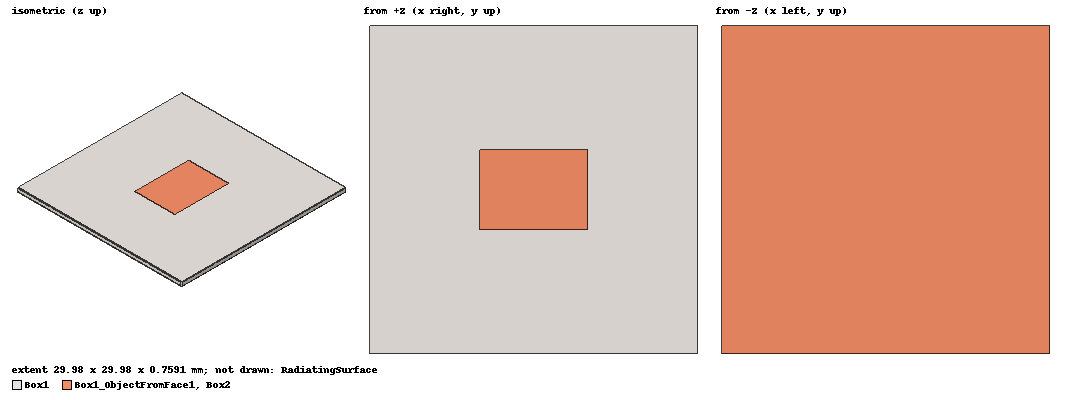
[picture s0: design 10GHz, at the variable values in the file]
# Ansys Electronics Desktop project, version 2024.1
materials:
  vacuum: permittivity=1
  Rogers RT/duroid 5880 (tm): permittivity=2.2 dielectric_loss_tangent=0.0009
  Rogers RO4003 (tm): permittivity=3.55 dielectric_loss_tangent=0.0027
  copper: permeability=0.999991 conductivity=58000000
  pec: conductivity=1e+30
  FR4_epoxy: permittivity=4.4 dielectric_loss_tangent=0.02
  Rogers RO4350 (tm): permittivity=3.66 dielectric_loss_tangent=0.004

design 10GHz (HFSS, HFSS Modal Network, model units mm)
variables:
  c = 299792458
  f0 = 10GHz
  lambda = c/f0
  SubW = lambda
  SubL = lambda
  SubTh = 0.688mm
  CuTh = 0.03556mm
  epsi_r = 3.66
  PatchW = (lambda/2)*sqrt(2/(epsi_r+1))
  PatchL = PatchWMult*lambda/2/sqrt(epsi_r)
  FeedX = 0.1mm
  FeedY = -1.7mm
  PatchWMult = 0.93
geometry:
  Box1 [Rogers RO4350 (tm)] = box(corner=(-SubW/2, -SubL/2, 0mm), size=(SubW, SubL, SubTh))
  Box1_ObjectFromFace1 [copper] = object_from(Box1.face(-z))
  Box1_ObjectFromFace1.thicken(CuTh)
  Box2 [copper] = box(corner=(-PatchW/2, -PatchL/2, SubTh), size=(PatchW, PatchL, CuTh))
  RadiatingSurface [vacuum] = region(absolute_offset=10mm on all sides)
  Rectangle1 = rectangle(corner=(-FeedX/2, FeedY, 0mm), z_size=SubTh, x_size=FeedX)
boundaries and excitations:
  Open1: Radiation Objects=RadiatingSurface
  1: Lumped Port Objects=Rectangle1 LumpedPortType=Modal Modes{Mode1{IntLine{(0, -1.7, 0) -> (0, -1.7, 0.688)} CharImp=Zpi RenormImp=50ohm}} Impedance=50ohm
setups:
  Setup1: HfssDriven Frequency=10GHz MaxDeltaS=0.02 MaximumPasses=20 MinimumPasses=1 MinimumConvergedPasses=2 PercentRefinement=30 BasisOrder=1 PortAccuracy=2 DrivenSolverType="Direct Solver"
    sweep Sweep: 5GHz to 15GHz, 401 points; Type=Interpolating InterpTolerance=0.5 InterpMaxSolns=250 InterpUsePortImped=false PassivityErrorTolerance=0.0001
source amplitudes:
  1:1: 1W 0deg
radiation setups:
  3D: Infinite Sphere Theta=0deg..180deg step 2deg Phi=-180deg..180deg step 2deg
  Elevation: Infinite Sphere Theta=-180deg..180deg step 1deg Phi=0deg..90deg step 90deg
  Azimuth: Infinite Sphere Theta=90deg..90deg step 0deg Phi=-180deg..180deg step 1deg
  Infinite Sphere1: Infinite Sphere Theta=0deg..180deg step 2deg Phi=-180deg..180deg step 2deg
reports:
  S Parameter Plot 1: dB(S(1,1)) vs Freq on Setup1 : Sweep [FeedY=all PatchWMult=all]; markers m1 at 10.025GHz, m2 at 9.9GHz, m3 at 10.175GHz, m4 at 9.925GHz
  S Parameter Plot 2: dB(S(1,1)) vs Freq on Setup1 : Sweep [FeedY=-1.7mm PatchWMult=0.93]
  Gain Plot 1: dB(GainTotal) vs Phi, Theta on Setup1 : LastAdaptive, 3D [Freq=10GHz FeedY=-1.7mm PatchWMult=0.93]

design 10GHz_Via_Fed (HFSS, HFSS Modal Network, model units mm)
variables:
  c = 299792458
  f0 = 10GHz
  lambda = c/f0
  SubW = 2*lambda
  SubL = 2*lambda
  SubTh = 0.508mm
  CuTh = 0.035mm
  epsi_r = 3.55
  PatchW = (lambda/2)*sqrt(2/(epsi_r+1))
  PatchL = 0.94*lambda/2/sqrt(epsi_r)
  FeedX = 0.1mm
  FeedY = -1.2mm
  ViaRad = 0.2mm
  LineL = 1mm
  Sub2Th = 0.3mm
  LineW = 0.68mm
  LineYOffset = 2mm
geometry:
  Box1 [Rogers RO4003 (tm)] = box(corner=(-SubW/2, -SubL/2, 0mm), size=(SubW, SubL, SubTh))
  Box1_ObjectFromFace1 [copper] = object_from(Box1.face(-z))
  Box1_ObjectFromFace1.thicken(CuTh)
  Patch [copper] = box(corner=(-PatchW/2, -PatchL/2, SubTh), size=(PatchW, PatchL, CuTh))
  RadiatingSurface [vacuum] = region(absolute_offset=10mm on all sides)
  Via [copper] = cylinder(axis=Z, base_centre=(0mm, -FeedY, SubTh), radius=ViaRad, height=-SubTh-CuTh-Sub2Th)
  Box1_ObjectFromFace1_ObjectFromFace1 [Rogers RO4003 (tm)] = object_from(Box1_ObjectFromFace1.face(at (0, 0, -0.035)))
  Box1_ObjectFromFace1_ObjectFromFace1.thicken(Sub2Th)
  Microstrip [copper] = box(corner=(-LineW/2, LineYOffset, -CuTh-Sub2Th), size=(LineW, -SubL/2-LineYOffset, -CuTh))
  Box3_ObjectFromFace1 [pec] = object_from(Microstrip.face(-y))
  Box3_ObjectFromFace1.thicken(0.1mm)
  Box3_ObjectFromFace1.move_faces(MoveAlongNormalFlag=true OffsetDistance=Sub2Th FacesToMove=Box3_ObjectFromFace1.face(#291))
  Box3_ObjectFromFace1.move_faces(MoveAlongNormalFlag=true OffsetDistance=3mm FacesToMove=Box3_ObjectFromFace1.face(#292, #293, #290))
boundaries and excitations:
  Open1: Radiation Objects=RadiatingSurface
  1: Wave Port Faces=Box3_ObjectFromFace1.face(at (0, -29.9792, -1.7025)) WavePortType=Modal NumModes=1 Modes{Mode1{CharImp=Zpi}}
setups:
  Setup1: HfssDriven Frequency=10GHz MaxDeltaS=0.02 MaximumPasses=20 MinimumPasses=1 MinimumConvergedPasses=2 PercentRefinement=30 BasisOrder=1 PortAccuracy=2 DrivenSolverType="Direct Solver"
    sweep Sweep: 5GHz to 15GHz, 401 points; Type=Interpolating InterpTolerance=0.5 InterpMaxSolns=250 InterpUsePortImped=false PassivityErrorTolerance=0.0001
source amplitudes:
  1:1: 1W 0deg
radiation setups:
  3D: Infinite Sphere Theta=0deg..180deg step 2deg Phi=-180deg..180deg step 2deg
  Elevation: Infinite Sphere Theta=-180deg..180deg step 1deg Phi=0deg..90deg step 90deg
  Azimuth: Infinite Sphere Theta=90deg..90deg step 0deg Phi=-180deg..180deg step 1deg
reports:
  S Parameter Plot 1: dB(S(1,1)) vs Freq on Setup1 : Sweep [FeedY=all]

design 10GHz_Inset_Fed (HFSS, HFSS Modal Network, model units mm)
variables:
  c = 299792458
  f0 = 10GHz
  lambda = c/f0
  SubW = lambda
  SubL = lambda
  SubTh = 0.688mm
  CuTh = 0.03556mm
  epsi_r = 3.66
  PatchW = (lambda/2)*sqrt(2/(epsi_r+1))
  PatchL = PatchWMult*lambda/2/sqrt(epsi_r)
  FeedX = 0.1mm
  FeedY = 2.3mm
  PatchWMult = 0.97
  LineW = 7.48*SubTh/(exp(50 * (sqrt(epsi_r+1.41)/87))) - 1.25*CuTh
  Inset = FeedY
  Gap = LineW/2
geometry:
  Box1 [Rogers RO4350 (tm)] = box(corner=(-SubW/2, -SubL/2, 0mm), size=(SubW, SubL, SubTh))
  Box1_ObjectFromFace1 [copper] = object_from(Box1.face(-z))
  Box1_ObjectFromFace1.thicken(CuTh)
  Box2 [copper] = box(corner=(-PatchW/2, -PatchL/2, SubTh), size=(PatchW, PatchL, CuTh))
  RadiatingSurface [vacuum] = region(absolute_offset=10mm on all sides)
  Box3 = box(corner=(-LineW/2, -PatchL/2, SubTh), size=(LineW, -SubL/2+PatchL/2, CuTh))
  Box3_ObjectFromFace1 = object_from(Box2.face(5 of 6))
  Box3_ObjectFromFace1.thicken(Inset)
  Box3_ObjectFromFace1.move_faces(MoveAlongNormalFlag=true OffsetDistance=Gap FacesToMove=Box3_ObjectFromFace1.face(#242, #244))
  Box3.move_faces(MoveAlongNormalFlag=true OffsetDistance=Inset FacesToMove=Box2.face(5 of 6))
  Box2.subtract(Box3_ObjectFromFace1)
  Box2.unite(Box3)
  Box2_ObjectFromFace1 [pec] = object_from(Box2.face(3 of 6))
  Box2_ObjectFromFace1.thicken(0.05mm)
  Box2_ObjectFromFace1.move_faces(MoveAlongNormalFlag=true OffsetDistance=1mm FacesToMove=Box2_ObjectFromFace1.face(#357, #355))
  Box2_ObjectFromFace1.move_faces(MoveAlongNormalFlag=true OffsetDistance=SubTh*2 FacesToMove=Box2_ObjectFromFace1.face(#358))
  Box2_ObjectFromFace1.move_faces(MoveAlongNormalFlag=true OffsetDistance=SubTh FacesToMove=Box2_ObjectFromFace1.face(#356))
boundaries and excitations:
  Open1: Radiation Objects=RadiatingSurface
  1: Wave Port Faces=Box2_ObjectFromFace1.face(at (0, -14.9896, 1.04978)) WavePortType=Modal NumModes=1 Modes{Mode1{CharImp=Zpi}}
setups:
  Setup1: HfssDriven Frequency=10GHz MaxDeltaS=0.02 MaximumPasses=20 MinimumPasses=1 MinimumConvergedPasses=2 PercentRefinement=30 BasisOrder=1 PortAccuracy=2 DrivenSolverType="Direct Solver"
    sweep Sweep: 5GHz to 15GHz, 401 points; Type=Interpolating InterpTolerance=0.5 InterpMaxSolns=250 InterpUsePortImped=false PassivityErrorTolerance=0.0001
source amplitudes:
  1:1: 1W 0deg
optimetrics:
  ParametricSetup1: Parametric Sim._Setups=[Setup1]
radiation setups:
  3D: Infinite Sphere Theta=0deg..180deg step 2deg Phi=-180deg..180deg step 2deg
  Elevation: Infinite Sphere Theta=-180deg..180deg step 1deg Phi=0deg..90deg step 90deg
  Azimuth: Infinite Sphere Theta=90deg..90deg step 0deg Phi=-180deg..180deg step 1deg
  Infinite Sphere1: Infinite Sphere Theta=0deg..180deg step 2deg Phi=-180deg..180deg step 2deg
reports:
  S Parameter Plot 1: dB(S(1,1)) vs Freq on Setup1 : Sweep
  Gain Plot 1: dB(GainTotal) vs Phi, Theta on Setup1 : LastAdaptive, Infinite Sphere1 [Freq=10GHz]
  S Parameter Plot 2: dB(S(1,1)) vs Freq on Setup1 : Sweep [FeedY=all]
  S Parameter Plot 3: dB(S(1,1)) vs Freq on Setup1 : Sweep [FeedY=2.3mm PatchWMult=all]; markers m1 at 10.075GHz, m2 at 9.975GHz, m3 at 9.85GHz, m4 at 10.125GHz
  S Parameter Plot 4: dB(S(1,1)) vs Freq on Setup1 : Sweep [FeedY=2.3mm PatchWMult=0.97]
